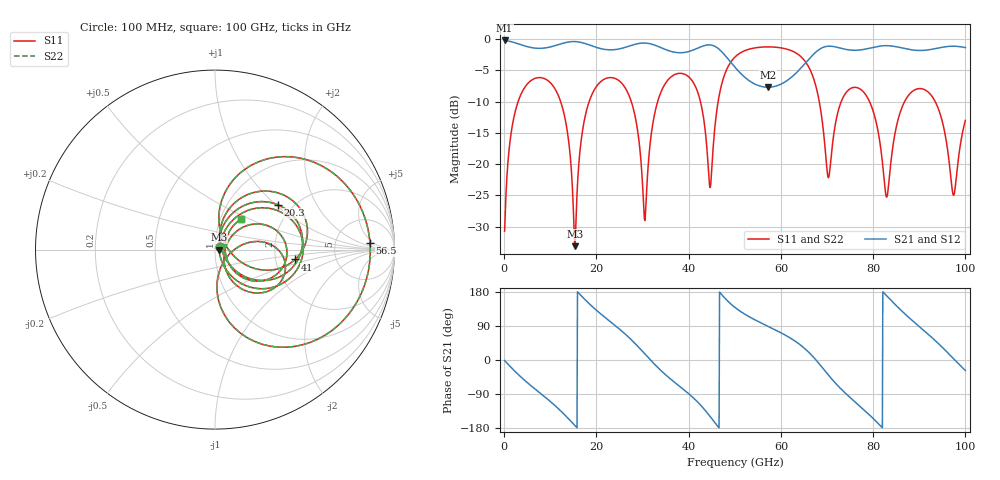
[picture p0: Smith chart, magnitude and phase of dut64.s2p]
! Touchstone file exported from HFSS 2026.1.0
!  File:  C:/ffzhzh/LocalFiles/Ansys_Project_Files/temp_train_TSV_RDL_64_1783448114_7600.aedt
!  Generated:  02:35:17 AM Jul  8, 2026
!  Design:  TSV_RDL
!  Project:  temp_train_TSV_RDL_64_1783448114_7600
! Variables:
!  h_bsmrdl = 4.36um
!  h_ox = 20um
!  h_rdl = 5um
!  h_sub = 63.03um
!  h_tmrdl = 2.05um
!  h_tsv = 63.03um
!  h_via = 3um
!  l_bsmrdl = 309.68um
!  l_sub = 3858.87um
!  l_tmrdl = 597.83um
!  m_sub = 200um
!  pitch = 42.49um
!  r_tsv = 5.45um
!  s_tmrdl = 10um
!  w_bsmrdl = 26.42um
!  w_sub = 500um
!  w_tmrdl = 19.75um
!  x_tsv_center1 = 607.705um
!  x_tsv_center2 = 943.805um
!  x_tsv_center3 = 1561.385um
!  x_tsv_center4 = 1897.485um
!  x_tsv_center5 = 2515.065um
!  x_tsv_center6 = 2851.165um
# GHz S MA R 50.000000
! Terminal data exported
! Port[1] = TM_RDL1_1_T1
! Port[2] = TM_RDL5_1_T1
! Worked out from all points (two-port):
!   1000 points, 100 MHz to 100 GHz, reference 50 ohm
!   highest |S21| = -0.23 dB at 100 MHz (marker M1); lowest = -7.7 dB at 57.2 GHz (marker M2)
!   |S21| within 3 dB of the highest: start of sweep to 48.59 GHz; 66.06 GHz to end of sweep
!   lowest |S11| = -33.1 dB at 15.3 GHz (marker M3), VSWR 1.05, Z = 52.2 - j0.118 ohm
!   |S11| at or under -10 dB: 12.24 GHz to 18.44 GHz (6.196 GHz wide, 40.4 % of centre); 79.21 GHz to 86.82 GHz (7.615 GHz wide, 9.17 % of centre); 93.44 GHz to end of sweep (the widest 3 of 7)
!   |S22| runs from -33.2 to -1.3 dB; largest |S21 - S12| = 6.7e-11
!   S11 on the Smith chart (normalised r, x): 100 MHz: 1.05, +0.03; 20.3 GHz: 1.69, +1.03; 41 GHz: 2.58, -0.36; 56.5 GHz: 13, +4; 100 GHz: 1.25, +0.45
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0.1  0.02906 25.4  0.974 -1.4  0.974 -1.4  0.02906 25.4
! Gamma 0 0 0 0
! Port Impedance 50 0 50 0
2.5  0.2718 51.5  0.9301 -31.7  0.9301 -31.7  0.2718 51.5
7.7  0.4916 1.4  0.8421 -86.4  0.8421 -86.4  0.4916 1.4
12.8  0.2689 -48.9  0.9262 -140.7  0.9262 -140.7  0.2689 -48.9
15.3  0.02203 -2.9  0.954 -172.4  0.954 -172.4  0.02195 -3.0
16.8  0.1652 69.4  0.9366 168.4  0.9366 168.4  0.1652 69.4
20.3  0.4312 35.2  0.8505 128.2  0.8505 128.2  0.4312 35.3
27.1  0.3517 -28.6  0.8776 58.9  0.8776 58.9  0.3517 -28.5
30.5  0.03529 17.3  0.9291 16.2  0.9291 16.2  0.03593 17.2
33.4  0.3268 62.7  0.8717 -20.9  0.8717 -20.9  0.3269 62.6
41  0.4495 -7.0  0.8167 -99.7  0.8167 -99.7  0.4495 -7.1
44.7  0.065 35.4  0.8969 -149.7  0.8969 -149.7  0.06514 35.3
50.1  0.7208 43.6  0.5914 138.2  0.5914 138.2  0.7207 43.6
56.5  0.8644 2.3  0.4129 93.1  0.4129 93.1  0.8643 2.3
57.2  0.8653 -1.5  0.4114 88.9  0.4114 88.9  0.8653 -1.5
66.7  0.5286 -69.4  0.7311 12.3  0.7311 12.3  0.5288 -69.3
70.3  0.07773 -36.4  0.8765 -39.7  0.8765 -39.7  0.07904 -36.5
74  0.3673 -2.8  0.8276 -87.8  0.8276 -87.8  0.3674 -3.0
83.4  0.07113 23.6  0.8837 163.4  0.8837 163.4  0.07128 23.4
91.5  0.387 -16.0  0.8152 72.5  0.8152 72.5  0.3869 -16.1
97.4  0.05623 -0.7  0.8764 3.9  0.8764 3.9  0.05592 -0.8
100  0.2236 49.3  0.8541 -28.0  0.8541 -28.0  0.2236 49.3
